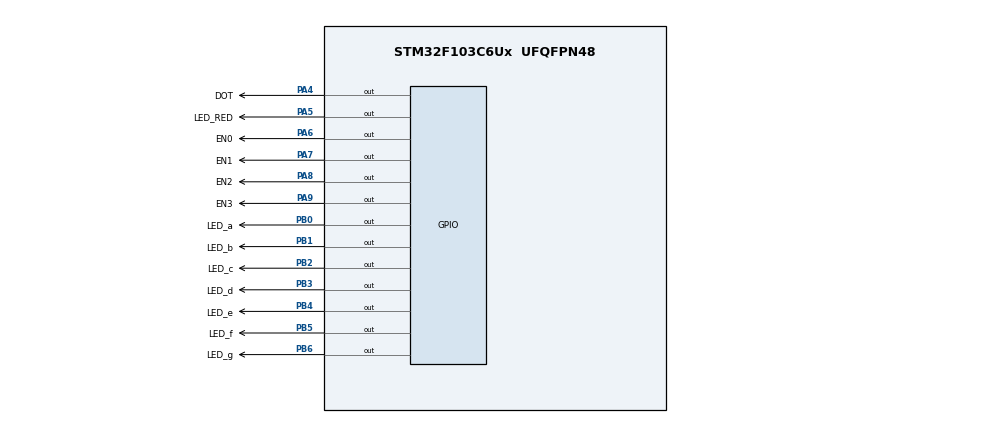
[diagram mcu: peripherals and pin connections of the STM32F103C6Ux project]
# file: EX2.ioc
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Mcu.Family=STM32F1
Mcu.Name=STM32F103C6Ux
Mcu.Package=UFQFPN48
NVIC.PriorityGroup=NVIC_PRIORITYGROUP_4
NVIC.TIM2_IRQn=true\:0\:0\:false\:false\:true\:true\:true
PA4.GPIO_Label=DOT
PA4.Signal=GPIO_Output
PA5.GPIO_Label=LED_RED
PA5.Signal=GPIO_Output
PA6.GPIO_Label=EN0
PA6.Signal=GPIO_Output
PA7.GPIO_Label=EN1
PA7.Signal=GPIO_Output
PA8.GPIO_Label=EN2
PA8.Signal=GPIO_Output
PA9.GPIO_Label=EN3
PA9.Signal=GPIO_Output
PB0.GPIO_Label=LED_a
PB0.Signal=GPIO_Output
PB1.GPIO_Label=LED_b
PB1.Signal=GPIO_Output
PB2.GPIO_Label=LED_c
PB2.Signal=GPIO_Output
PB3.GPIO_Label=LED_d
PB3.Signal=GPIO_Output
PB4.GPIO_Label=LED_e
PB4.Signal=GPIO_Output
PB5.GPIO_Label=LED_f
PB5.Signal=GPIO_Output
PB6.GPIO_Label=LED_g
PB6.Signal=GPIO_Output
ProjectManager.HeapSize=0x200
ProjectManager.StackSize=0x400
ProjectManager.TargetToolchain=STM32CubeIDE
RCC.APB1Freq_Value=8000000
RCC.APB2Freq_Value=8000000
TIM2.Period=9
TIM2.Prescaler=7999
VP_SYS_VS_ND.Mode=No_Debug
VP_TIM2_VS_ClockSourceINT.Mode=Internal
board=custom

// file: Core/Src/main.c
/* USER CODE BEGIN Header */
/**
  ******************************************************************************
  * @file           : main.c
  * @brief          : Main program body
  ******************************************************************************
  * @attention
  *
  * <h2><center>&copy; Copyright (c) 2025 STMicroelectronics.
  * All rights reserved.</center></h2>
  *
  * This software component is licensed by ST under BSD 3-Clause license,
  * the "License"; You may not use this file except in compliance with the
  * License. You may obtain a copy of the License at:
  *                        opensource.org/licenses/BSD-3-Clause
  *
  ******************************************************************************
  */
/* USER CODE END Header */
#include "main.h"

/* USER CODE BEGIN Includes */
#include "software.h"
/* USER CODE END Includes */

TIM_HandleTypeDef htim2;

void SystemClock_Config(void);
static void MX_GPIO_Init(void);
static void MX_TIM2_Init(void);

/* USER CODE BEGIN 0 */

const int MAX_LED =4 ;
int led_idx = 0;
int hour = 15, minute = 8, second = 50;
int led_buffer[4];
int ms_counter=0;

void display7SEG (int num) {
	switch (num) {
	case 0:
		HAL_GPIO_WritePin(LED_a_GPIO_Port, LED_a_Pin, GPIO_PIN_RESET);
		HAL_GPIO_WritePin(LED_b_GPIO_Port, LED_b_Pin, GPIO_PIN_RESET);
		HAL_GPIO_WritePin(LED_c_GPIO_Port, LED_c_Pin, GPIO_PIN_RESET);
		HAL_GPIO_WritePin(LED_d_GPIO_Port, LED_d_Pin, GPIO_PIN_RESET);
		HAL_GPIO_WritePin(LED_e_GPIO_Port, LED_e_Pin, GPIO_PIN_RESET);
		HAL_GPIO_WritePin(LED_f_GPIO_Port, LED_f_Pin, GPIO_PIN_RESET);
		HAL_GPIO_WritePin(LED_g_GPIO_Port, LED_g_Pin, GPIO_PIN_SET);
		break;
	case 1:
		HAL_GPIO_WritePin(LED_a_GPIO_Port, LED_a_Pin, GPIO_PIN_SET);
		HAL_GPIO_WritePin(LED_b_GPIO_Port, LED_b_Pin, GPIO_PIN_RESET);
		HAL_GPIO_WritePin(LED_c_GPIO_Port, LED_c_Pin, GPIO_PIN_RESET);
		HAL_GPIO_WritePin(LED_d_GPIO_Port, LED_d_Pin, GPIO_PIN_SET);
		HAL_GPIO_WritePin(LED_e_GPIO_Port, LED_e_Pin, GPIO_PIN_SET);
		HAL_GPIO_WritePin(LED_f_GPIO_Port, LED_f_Pin, GPIO_PIN_SET);
		HAL_GPIO_WritePin(LED_g_GPIO_Port, LED_g_Pin, GPIO_PIN_SET);
		break;
	case 2:
		HAL_GPIO_WritePin(LED_a_GPIO_Port, LED_a_Pin, GPIO_PIN_RESET);
		HAL_GPIO_WritePin(LED_b_GPIO_Port, LED_b_Pin, GPIO_PIN_RESET);
		HAL_GPIO_WritePin(LED_c_GPIO_Port, LED_c_Pin, GPIO_PIN_SET);
		HAL_GPIO_WritePin(LED_d_GPIO_Port, LED_d_Pin, GPIO_PIN_RESET);
		HAL_GPIO_WritePin(LED_e_GPIO_Port, LED_e_Pin, GPIO_PIN_RESET);
		HAL_GPIO_WritePin(LED_f_GPIO_Port, LED_f_Pin, GPIO_PIN_SET);
		HAL_GPIO_WritePin(LED_g_GPIO_Port, LED_g_Pin, GPIO_PIN_RESET);
		break;
	case 3:
		HAL_GPIO_WritePin(LED_a_GPIO_Port, LED_a_Pin, GPIO_PIN_RESET);
		HAL_GPIO_WritePin(LED_b_GPIO_Port, LED_b_Pin, GPIO_PIN_RESET);
		HAL_GPIO_WritePin(LED_c_GPIO_Port, LED_c_Pin, GPIO_PIN_RESET);
		HAL_GPIO_WritePin(LED_d_GPIO_Port, LED_d_Pin, GPIO_PIN_RESET);
		HAL_GPIO_WritePin(LED_e_GPIO_Port, LED_e_Pin, GPIO_PIN_SET);
		HAL_GPIO_WritePin(LED_f_GPIO_Port, LED_f_Pin, GPIO_PIN_SET);
		HAL_GPIO_WritePin(LED_g_GPIO_Port, LED_g_Pin, GPIO_PIN_RESET);
		break;
	case 4:
		HAL_GPIO_WritePin(LED_a_GPIO_Port, LED_a_Pin, GPIO_PIN_SET);
		HAL_GPIO_WritePin(LED_b_GPIO_Port, LED_b_Pin, GPIO_PIN_RESET);
		HAL_GPIO_WritePin(LED_c_GPIO_Port, LED_c_Pin, GPIO_PIN_RESET);
		HAL_GPIO_WritePin(LED_d_GPIO_Port, LED_d_Pin, GPIO_PIN_SET);
		HAL_GPIO_WritePin(LED_e_GPIO_Port, LED_e_Pin, GPIO_PIN_SET);
		HAL_GPIO_WritePin(LED_f_GPIO_Port, LED_f_Pin, GPIO_PIN_RESET);
		HAL_GPIO_WritePin(LED_g_GPIO_Port, LED_g_Pin, GPIO_PIN_RESET);
		break;
	case 5:
		HAL_GPIO_WritePin(LED_a_GPIO_Port, LED_a_Pin, GPIO_PIN_RESET);
		HAL_GPIO_WritePin(LED_b_GPIO_Port, LED_b_Pin, GPIO_PIN_SET);
		HAL_GPIO_WritePin(LED_c_GPIO_Port, LED_c_Pin, GPIO_PIN_RESET);
		HAL_GPIO_WritePin(LED_d_GPIO_Port, LED_d_Pin, GPIO_PIN_RESET);
		HAL_GPIO_WritePin(LED_e_GPIO_Port, LED_e_Pin, GPIO_PIN_SET);
		HAL_GPIO_WritePin(LED_f_GPIO_Port, LED_f_Pin, GPIO_PIN_RESET);
		HAL_GPIO_WritePin(LED_g_GPIO_Port, LED_g_Pin, GPIO_PIN_RESET);
		break;
	case 6:
		HAL_GPIO_WritePin(LED_a_GPIO_Port, LED_a_Pin, GPIO_PIN_RESET);
		HAL_GPIO_WritePin(LED_b_GPIO_Port, LED_b_Pin, GPIO_PIN_SET);
		HAL_GPIO_WritePin(LED_c_GPIO_Port, LED_c_Pin, GPIO_PIN_RESET);
		HAL_GPIO_WritePin(LED_d_GPIO_Port, LED_d_Pin, GPIO_PIN_RESET);
		HAL_GPIO_WritePin(LED_e_GPIO_Port, LED_e_Pin, GPIO_PIN_RESET);
		HAL_GPIO_WritePin(LED_f_GPIO_Port, LED_f_Pin, GPIO_PIN_RESET);
		HAL_GPIO_WritePin(LED_g_GPIO_Port, LED_g_Pin, GPIO_PIN_RESET);
		break;
	case 7:
		HAL_GPIO_WritePin(LED_a_GPIO_Port, LED_a_Pin, GPIO_PIN_RESET);
		HAL_GPIO_WritePin(LED_b_GPIO_Port, LED_b_Pin, GPIO_PIN_RESET);
		HAL_GPIO_WritePin(LED_c_GPIO_Port, LED_c_Pin, GPIO_PIN_RESET);
		HAL_GPIO_WritePin(LED_d_GPIO_Port, LED_d_Pin, GPIO_PIN_SET);
		HAL_GPIO_WritePin(LED_e_GPIO_Port, LED_e_Pin, GPIO_PIN_SET);
		HAL_GPIO_WritePin(LED_f_GPIO_Port, LED_f_Pin, GPIO_PIN_SET);
		HAL_GPIO_WritePin(LED_g_GPIO_Port, LED_g_Pin, GPIO_PIN_SET);
		break;
	case 8:
		HAL_GPIO_WritePin(LED_a_GPIO_Port, LED_a_Pin, GPIO_PIN_RESET);
		HAL_GPIO_WritePin(LED_b_GPIO_Port, LED_b_Pin, GPIO_PIN_RESET);
		HAL_GPIO_WritePin(LED_c_GPIO_Port, LED_c_Pin, GPIO_PIN_RESET);
		HAL_GPIO_WritePin(LED_d_GPIO_Port, LED_d_Pin, GPIO_PIN_RESET);
		HAL_GPIO_WritePin(LED_e_GPIO_Port, LED_e_Pin, GPIO_PIN_RESET);
		HAL_GPIO_WritePin(LED_f_GPIO_Port, LED_f_Pin, GPIO_PIN_RESET);
		HAL_GPIO_WritePin(LED_g_GPIO_Port, LED_g_Pin, GPIO_PIN_RESET);
		break;
	case 9:
		HAL_GPIO_WritePin(LED_a_GPIO_Port, LED_a_Pin, GPIO_PIN_RESET);
		HAL_GPIO_WritePin(LED_b_GPIO_Port, LED_b_Pin, GPIO_PIN_RESET);
		HAL_GPIO_WritePin(LED_c_GPIO_Port, LED_c_Pin, GPIO_PIN_RESET);
		HAL_GPIO_WritePin(LED_d_GPIO_Port, LED_d_Pin, GPIO_PIN_RESET);
		HAL_GPIO_WritePin(LED_e_GPIO_Port, LED_e_Pin, GPIO_PIN_SET);
		HAL_GPIO_WritePin(LED_f_GPIO_Port, LED_f_Pin, GPIO_PIN_RESET);
		HAL_GPIO_WritePin(LED_g_GPIO_Port, LED_g_Pin, GPIO_PIN_RESET);
		break;
	default:
		break;
	}
}

void updateClockBuffer(int hour, int minute){
    led_buffer[0] = hour / 10;
    led_buffer[1] = hour % 10;
    led_buffer[2] = minute / 10;
    led_buffer[3] = minute % 10;
}

void update7SEG (int idx) {
		HAL_GPIO_WritePin(GPIOA,EN0_Pin | EN1_Pin | EN2_Pin | EN3_Pin, GPIO_PIN_SET);
  	  switch(idx) {
  	  case 0:
  		display7SEG(led_buffer[0]);
  		HAL_GPIO_WritePin(EN0_GPIO_Port, EN0_Pin, RESET);
  		break;

  	  case 1:
		display7SEG(led_buffer[1]);
		HAL_GPIO_WritePin(EN1_GPIO_Port, EN1_Pin, RESET);
		break;

  	  case 2:
		display7SEG(led_buffer[2]);
		HAL_GPIO_WritePin(EN2_GPIO_Port, EN2_Pin, RESET);
		break;

  	  case 3:
		display7SEG(led_buffer[3]);
		HAL_GPIO_WritePin(EN3_GPIO_Port, EN3_Pin, RESET);
		break;

  	  default:
		break;
  	  }
    }
/* USER CODE END 0 */

int main(void)
{

  /* MCU Configuration--------------------------------------------------------*/

  /* Reset of all peripherals, Initializes the Flash interface and the Systick. */
  HAL_Init();

  /* Configure the system clock */
  SystemClock_Config();

  /* Initialize all configured peripherals */
  MX_GPIO_Init();
  MX_TIM2_Init();
  /* USER CODE BEGIN 2 */
  updateClockBuffer(hour, minute);
  HAL_TIM_Base_Start_IT(&htim2);
  /* USER CODE END 2 */

  /* Infinite loop */
  /* USER CODE BEGIN WHILE */
  setTimer1(10);
  while (1)
  {
	  update7SEG(led_idx++);
	  if (led_idx >=4) led_idx = 0;
	  HAL_GPIO_TogglePin(GPIOA, DOT_Pin | LED_RED_Pin);
	  HAL_Delay (1000) ;
	  ms_counter+=1000;
	  if(ms_counter == 1000) {
		ms_counter=0;
		second++;
		if (second >= 60) { second = 0; minute++; }
		else if (minute >= 60) { minute = 0; hour++; }
		else if (hour >= 24)   { hour = 0; }
		updateClockBuffer(hour, minute);
	  }
    /* USER CODE END WHILE */

  }
}

void SystemClock_Config(void)
{
  RCC_OscInitTypeDef RCC_OscInitStruct = {0};
  RCC_ClkInitTypeDef RCC_ClkInitStruct = {0};

  /** Initializes the RCC Oscillators according to the specified parameters
  * in the RCC_OscInitTypeDef structure.
  */
  RCC_OscInitStruct.OscillatorType = RCC_OSCILLATORTYPE_HSI;
  RCC_OscInitStruct.HSIState = RCC_HSI_ON;
  RCC_OscInitStruct.HSICalibrationValue = RCC_HSICALIBRATION_DEFAULT;
  RCC_OscInitStruct.PLL.PLLState = RCC_PLL_NONE;
  if (HAL_RCC_OscConfig(&RCC_OscInitStruct) != HAL_OK)
  {
    Error_Handler();
  }
  /** Initializes the CPU, AHB and APB buses clocks
  */
  RCC_ClkInitStruct.ClockType = RCC_CLOCKTYPE_HCLK|RCC_CLOCKTYPE_SYSCLK
                              |RCC_CLOCKTYPE_PCLK1|RCC_CLOCKTYPE_PCLK2;
  RCC_ClkInitStruct.SYSCLKSource = RCC_SYSCLKSOURCE_HSI;
  RCC_ClkInitStruct.AHBCLKDivider = RCC_SYSCLK_DIV1;
  RCC_ClkInitStruct.APB1CLKDivider = RCC_HCLK_DIV1;
  RCC_ClkInitStruct.APB2CLKDivider = RCC_HCLK_DIV1;

  if (HAL_RCC_ClockConfig(&RCC_ClkInitStruct, FLASH_LATENCY_0) != HAL_OK)
  {
    Error_Handler();
  }
}

static void MX_TIM2_Init(void)
{

  TIM_ClockConfigTypeDef sClockSourceConfig = {0};
  TIM_MasterConfigTypeDef sMasterConfig = {0};

  htim2.Instance = TIM2;
  htim2.Init.Prescaler = 7999;
  htim2.Init.CounterMode = TIM_COUNTERMODE_UP;
  htim2.Init.Period = 9;
  htim2.Init.ClockDivision = TIM_CLOCKDIVISION_DIV1;
  htim2.Init.AutoReloadPreload = TIM_AUTORELOAD_PRELOAD_DISABLE;
  if (HAL_TIM_Base_Init(&htim2) != HAL_OK)
  {
    Error_Handler();
  }
  sClockSourceConfig.ClockSource = TIM_CLOCKSOURCE_INTERNAL;
  if (HAL_TIM_ConfigClockSource(&htim2, &sClockSourceConfig) != HAL_OK)
  {
    Error_Handler();
  }
  sMasterConfig.MasterOutputTrigger = TIM_TRGO_RESET;
  sMasterConfig.MasterSlaveMode = TIM_MASTERSLAVEMODE_DISABLE;
  if (HAL_TIMEx_MasterConfigSynchronization(&htim2, &sMasterConfig) != HAL_OK)
  {
    Error_Handler();
  }

}

static void MX_GPIO_Init(void)
{
  GPIO_InitTypeDef GPIO_InitStruct = {0};

  /* GPIO Ports Clock Enable */
  __HAL_RCC_GPIOA_CLK_ENABLE();
  __HAL_RCC_GPIOB_CLK_ENABLE();

  /*Configure GPIO pin Output Level */
  HAL_GPIO_WritePin(GPIOA, DOT_Pin|LED_RED_Pin|EN0_Pin|EN1_Pin
                          |EN2_Pin|EN3_Pin, GPIO_PIN_RESET);

  /*Configure GPIO pin Output Level */
  HAL_GPIO_WritePin(GPIOB, LED_a_Pin|LED_b_Pin|LED_c_Pin|LED_d_Pin
                          |LED_e_Pin|LED_f_Pin|LED_g_Pin, GPIO_PIN_RESET);

  /*Configure GPIO pins : DOT_Pin LED_RED_Pin EN0_Pin EN1_Pin
                           EN2_Pin EN3_Pin */
  GPIO_InitStruct.Pin = DOT_Pin|LED_RED_Pin|EN0_Pin|EN1_Pin
                          |EN2_Pin|EN3_Pin;
  GPIO_InitStruct.Mode = GPIO_MODE_OUTPUT_PP;
  GPIO_InitStruct.Pull = GPIO_NOPULL;
  GPIO_InitStruct.Speed = GPIO_SPEED_FREQ_LOW;
  HAL_GPIO_Init(GPIOA, &GPIO_InitStruct);

  /*Configure GPIO pins : LED_a_Pin LED_b_Pin LED_c_Pin LED_d_Pin
                           LED_e_Pin LED_f_Pin LED_g_Pin */
  GPIO_InitStruct.Pin = LED_a_Pin|LED_b_Pin|LED_c_Pin|LED_d_Pin
                          |LED_e_Pin|LED_f_Pin|LED_g_Pin;
  GPIO_InitStruct.Mode = GPIO_MODE_OUTPUT_PP;
  GPIO_InitStruct.Pull = GPIO_NOPULL;
  GPIO_InitStruct.Speed = GPIO_SPEED_FREQ_LOW;
  HAL_GPIO_Init(GPIOB, &GPIO_InitStruct);

}

/* USER CODE BEGIN 4 */
	void HAL_TIM_PeriodElapsedCallback ( TIM_HandleTypeDef * htim )
{
		timerRun();
 }
/* USER CODE END 4 */

void Error_Handler(void)
{
  __disable_irq();
  while (1)
  {
  }
}

/************************ (C) COPYRIGHT STMicroelectronics *****END OF FILE****/
